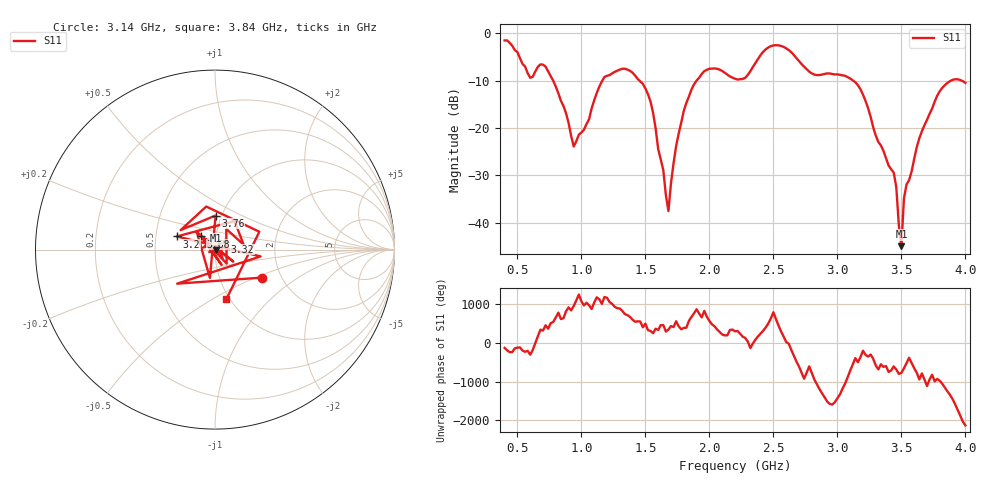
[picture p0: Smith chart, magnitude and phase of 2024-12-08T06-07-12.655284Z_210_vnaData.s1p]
!Created with skrf (http://scikit-rf.org).
# Hz S RI R 50.0
!freq ReS11 ImS11
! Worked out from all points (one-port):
!   181 points, 400 MHz to 4 GHz, reference 50 ohm
!   lowest |S11| = -44.9 dB at 3.5 GHz (marker M1), VSWR 1.01, Z = 50.3 - j0.454 ohm
!   |S11| at or under -10 dB: 779.5 MHz to 1.163 GHz (383.6 MHz wide, 39.5 % of centre); 1.454 GHz to 1.899 GHz (445 MHz wide, 26.5 % of centre); 3.124 GHz to 3.887 GHz (763.1 MHz wide, 21.8 % of centre) (the widest 3 of 4)
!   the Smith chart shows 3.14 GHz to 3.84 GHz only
!   S11 on the Smith chart (normalised r, x): 3.14 GHz: 1.59, -0.55; 3.2 GHz: 0.64, +0.10; 3.32 GHz: 1.11, +0.10; 3.68 GHz: 0.85, +0.12; 3.76 GHz: 0.94, +0.37; 3.84 GHz: 0.96, -0.58
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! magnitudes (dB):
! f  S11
! 400 MHz  -1.5
! 600 MHz  -9.4
! 720 MHz  -7.0
! 860 MHz  -15.4
! 940 MHz  -23.9
! 1.18 GHz  -9.2
! 1.3 GHz  -7.7
! 1.54 GHz  -14.4
! 1.68 GHz  -37.5
! 1.76 GHz  -21.2
! 1.86 GHz  -11.9
! 1.96 GHz  -8.0
! 2.2 GHz  -9.6
! 2.48 GHz  -2.7
! 2.66 GHz  -4.6
! 2.82 GHz  -8.7
! 3.1 GHz  -9.5
! 3.14 GHz  -10.3
! 3.2 GHz  -13.0
! 3.32 GHz  -22.9
! 3.44 GHz  -29.4
! 3.5 GHz  -44.9
! 3.52 GHz  -34.9
! 3.56 GHz  -31.0
! 3.68 GHz  -19.4
! 3.76 GHz  -14.4
! 3.84 GHz  -10.9
! 4 GHz  -10.5
